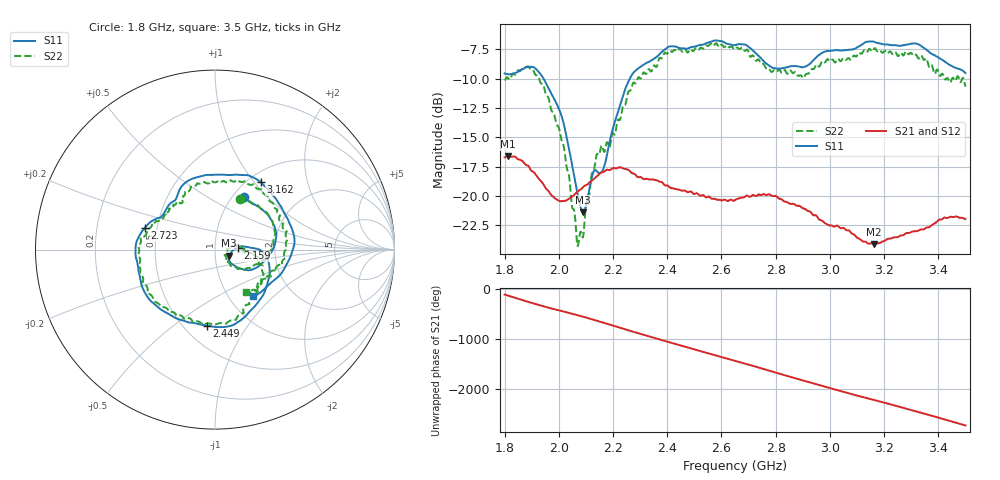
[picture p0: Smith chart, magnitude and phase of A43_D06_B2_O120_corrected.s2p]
! Created with skrf 1.9.0 (http://scikit-rf.org).
# Hz S RI R 50.0
!freq ReS11 ImS11 ReS21 ImS21 ReS12 ImS12 ReS22 ImS22
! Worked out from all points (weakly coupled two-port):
!   1601 points, 1.8 GHz to 3.5 GHz, reference 50 ohm
!   highest |S21| = -16.60 dB at 1.812 GHz (marker M1); lowest = -24.1 dB at 3.163 GHz (marker M2)
!   lowest |S11| = -21.4 dB at 2.09 GHz (marker M3), VSWR 1.19, Z = 58.4 - j3.89 ohm
!   |S11| at or under -10 dB: 1.944 GHz to 2.262 GHz (318.1 MHz wide, 15.1 % of centre)
!   |S22| runs from -24.3 to -7.0 dB; largest |S21 - S12| = 0.0024
!   S11 on the Smith chart (normalised r, x): 1.8 GHz: 1.12, +0.74; 2.159 GHz: 1.29, +0.02; 2.449 GHz: 0.64, -0.67; 2.723 GHz: 0.43, +0.12; 3.162 GHz: 1.14, +1.08; 3.5 GHz: 1.29, -0.75
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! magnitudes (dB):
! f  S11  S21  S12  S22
! 1.8 GHz  -9.6  -16.7  -16.7  -10.1
! 1.812 GHz  -9.6  -16.6  -16.6  -9.9
! 1.882 GHz  -9.0  -17.4  -17.4  -9.0
! 1.942 GHz  -9.9  -19.0  -19.0  -10.5
! 2.013 GHz  -13.4  -20.4  -20.4  -15.4
! 2.067 GHz  -19.5  -19.7  -19.7  -23.9
! 2.084 GHz  -21.2  -19.4  -19.3  -23.2
! 2.09 GHz  -21.4  -19.2  -19.2  -23.4
! 2.127 GHz  -18.0  -18.6  -18.6  -17.9
! 2.159 GHz  -17.9  -18.0  -17.9  -15.7
! 2.259 GHz  -10.1  -17.8  -17.8  -11.0
! 2.367 GHz  -8.0  -18.7  -18.7  -8.5
! 2.449 GHz  -7.4  -19.5  -19.5  -7.5
! 2.65 GHz  -7.2  -20.3  -20.3  -7.5
! 2.723 GHz  -7.8  -20.0  -19.9  -8.3
! 2.798 GHz  -9.1  -20.0  -20.0  -9.3
! 2.934 GHz  -8.6  -21.5  -21.5  -9.2
! 3.162 GHz  -6.9  -24.1  -24.0  -7.5
! 3.163 GHz  -6.9  -24.1  -24.0  -7.4
! 3.217 GHz  -7.1  -23.6  -23.6  -7.8
! 3.324 GHz  -7.0  -23.0  -22.9  -8.2
! 3.5 GHz  -9.5  -22.0  -21.9  -10.7
